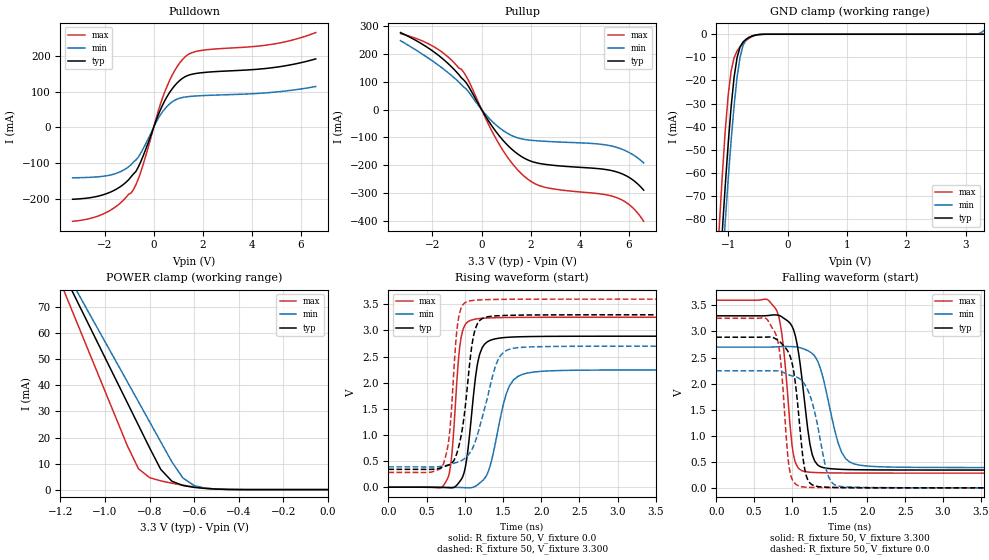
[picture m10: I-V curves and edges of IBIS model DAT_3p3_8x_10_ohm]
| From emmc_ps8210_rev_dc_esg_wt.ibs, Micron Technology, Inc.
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|   Model DAT_3p3_8x_10_ohm
[Model]   DAT_3p3_8x_10_ohm
Model_type   I/O
Vinl   = 1.10V
Vinh   = 1.85V
Vmeas  = 1.65V
|   typ   min   max
C_comp   5.070pF   4.620pF   5.590pF
[Voltage Range]   3.300V   2.700V   3.600V
| Junction Temperature (Ambient temp is 35C typ, 85C min, -25C max)
[Temperature Range]   50.0   100.0   -25.0
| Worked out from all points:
|   slope of the pulldown table from 0 to 0.495 V, typ, clamps not added: 6.22 ohm
|   slope of the pullup table from 0 to 0.495 V, typ, clamps not added: 7.23 ohm
|   GND clamp passes 1 mA (typ) near -0.62 V on its own axis
|   POWER clamp passes 1 mA (typ) near -0.61 V on its own axis
|   rising waveform, R_fixture 50, V_fixture 0.0: 20-80 % time 132ps typ, 206ps min, 95.5ps max; typ from 0 V to 2.89 V
|   falling waveform, R_fixture 50, V_fixture 3.300: 20-80 % time 155ps typ, 227ps min, 125ps max; typ from 3.3 V to 0.342 V
|   rising waveform, R_fixture 50, V_fixture 3.300: 20-80 % time 148ps typ, 254ps min, 97.8ps max; typ from 0.341 V to 3.3 V
|   falling waveform, R_fixture 50, V_fixture 0.0: 20-80 % time 133ps typ, 207ps min, 106ps max; typ from 2.89 V to 0 V
[Pulldown]
|   Voltage   I(typ)   I(min)   I(max)
-3.3V     -200.3mA   -140.6mA   -261.8mA
-1.914V   -184.5mA   -134.8mA   -236.7mA
-1.32V    -163.5mA   -122.3mA   -208.6mA
-825mV    -129.9mA   -96.84mA   -173.7mA
-528mV    -96.18mA   -72.07mA   -125.1mA
165mV     31.08mA    22.63mA    40.75mA
462mV     75.63mA    52.43mA    100.7mA
858mV     116.6mA    75.62mA    158.5mA
1.353V    143.7mA    85.36mA    200.7mA
2.046V    153.1mA    88.84mA    215.5mA
5.016V    168.1mA    98.94mA    234mA
6.6V      191mA      114mA      264.4mA
[GND_clamp]
|   Voltage   I(typ)   I(min)   I(max)
-3.3V     -1.215A    -1.186A    -1.264A
-1.15V    -106.9mA   -121.7mA   -83.42mA
-1.1V     -85.79mA   -101.1mA   -61.61mA
-1.05V    -65.86mA   -81.43mA   -42.03mA
-1V       -47.53mA   -62.91mA   -26.45mA
-950mV    -31.34mA   -45.93mA   -15.87mA
-900mV    -18.56mA   -30.95mA   -10.14mA
-850mV    -10.08mA   -18.57mA   -7.26mA
-800mV    -5.518mA   -9.883mA   -5.408mA
-750mV    -3.354mA   -4.867mA   -3.954mA
-650mV    -1.397mA   -1.296mA   -1.774mA
3.3V      153.5pA    1.541mA    28.72pA
[Pullup]
|   Voltage   I(typ)   I(min)   I(max)
-3.3V     276.9mA    247.9mA    273.2mA
-1.914V   205.5mA    169.5mA    224.3mA
-825mV    114.4mA    90.07mA    145.1mA
-528mV    82.81mA    63.55mA    103.5mA
165mV     -24.51mA   -17.67mA   -31.98mA
759mV     -99.02mA   -68.18mA   -131.2mA
1.353V    -152.1mA   -98.42mA   -205.6mA
1.848V    -180.1mA   -109mA     -248.4mA
2.64V     -198mA     -114.7mA   -281.1mA
5.511V    -224.8mA   -136.6mA   -317.5mA
6.105V    -250.1mA   -159.5mA   -349.5mA
6.6V      -290.2mA   -192.4mA   -402.3mA
[POWER_clamp]
|   Voltage   I(typ)   I(min)   I(max)
-3.3V     453.3mA    414.4mA    751.9mA
-1.2V     85.34mA    87.53mA    79.65mA
-1.15V    76.66mA    79.83mA    69.17mA
-1.1V     67.99mA    72.13mA    58.7mA
-900mV    33.36mA    41.43mA    16.88mA
-850mV    24.71mA    33.74mA    7.997mA
-800mV    16.03mA    26.04mA    4.596mA
-750mV    7.762mA    18.34mA    3.354mA
-700mV    3.218mA    10.64mA    2.457mA
-650mV    1.558mA    4.403mA    1.681mA
-600mV    854.9uA    1.541mA    1.032mA
0V        154pA      391.7pA    39.41pA
[Ramp]
|   typ   min   max
dV/dt_r   1.73/131.41p   1.35/206.40p   1.95/95.14p
dV/dt_f   1.78/154.84p   1.39/226.90p   1.99/124.70p
R_load = 50
[Rising Waveform]
R_fixture = 50
V_fixture = 0.0
|   Time   V(typ)   V(min)   V(max)
0s        8.088nV    10.04nV    162nV
770ps     -8.147mV   -2.877mV   150.2mV
830ps     -12.77mV   -3.453mV   613.3mV
940ps     120.2mV    -5.823mV   2.748V
1.06ns    963.3mV    -12.62mV   3.183V
1.16ns    2.308V     38.54mV    3.222V
1.23ns    2.677V     122.5mV    3.233V
1.54ns    2.867V     1.776V     3.248V
1.75ns    2.88V      2.157V     3.251V
5ns       2.89V      2.245V     3.253V
[Falling Waveform]
R_fixture   = 50
V_fixture   = 3.300
V_fixture_min = 2.700
V_fixture_max = 3.600
|   Time   V(typ)   V(min)   V(max)
0s        3.3V       2.7V       3.6V
800ps     3.316V     2.706V     3.399V
880ps     3.268V     2.713V     2.806V
1.02ns    3.041V     2.708V     645.3mV
1.13ns    2.14V      2.679V     331.5mV
1.24ns    834.1mV    2.608V     300.6mV
1.3ns     523.2mV    2.53V      295mV
1.61ns    357.7mV    873.7mV    285.7mV
1.77ns    349.9mV    492mV      284.2mV
5ns       341.5mV    389mV      282.3mV
[Rising Waveform]
R_fixture   = 50
V_fixture   = 3.300
V_fixture_min = 2.700
V_fixture_max = 3.600
|   Time   V(typ)   V(min)   V(max)
0s        341.5mV    388.9mV    282.3mV
710ps     384.8mV    403.1mV    412.3mV
800ps     431.8mV    434.5mV    1.023V
910ps     717mV      481.4mV    3.166V
1.03ns    1.872V     591.6mV    3.554V
1.09ns    2.687V     713.2mV    3.572V
1.17ns    3.14V      1.024V     3.583V
1.4ns     3.279V     2.311V     3.594V
1.56ns    3.289V     2.628V     3.597V
5ns       3.3V       2.7V       3.6V
[Falling Waveform]
R_fixture = 50
V_fixture = 0.0
|   Time   V(typ)   V(min)   V(max)
0s        2.89V      2.245V     3.253V
780ps     2.863V     2.246V     2.97V
850ps     2.79V      2.233V     2.457V
960ps     2.584V     2.168V     435mV
1.08ns    1.564V     2.115V     44.38mV
1.15ns    549.8mV    2.026V     17.25mV
1.21ns    157.5mV    1.877V     11.52mV
1.46ns    13.08mV    327.2mV    3.893mV
1.6ns     7.545mV    38.66mV    2.308mV
5ns       34.77uV    45.84uV    24.6uV
